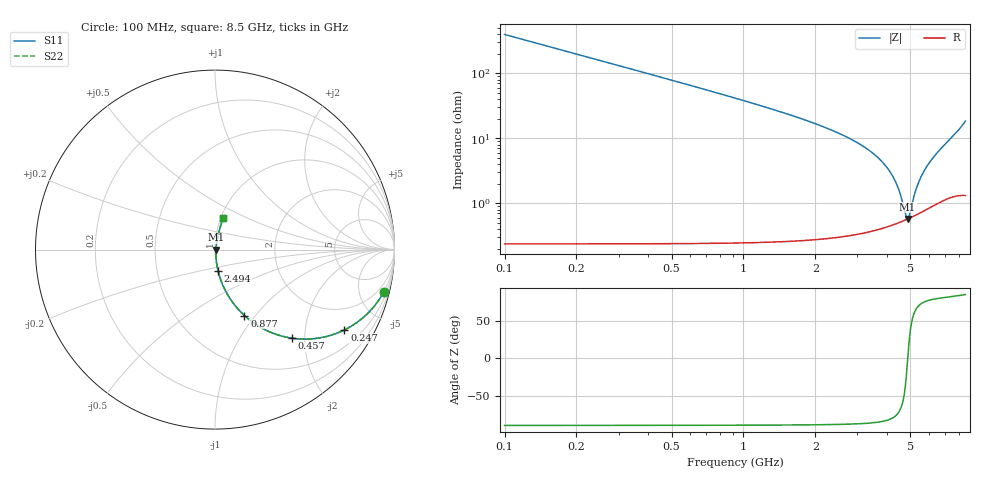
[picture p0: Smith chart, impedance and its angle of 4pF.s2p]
!Murata Part Number: GRM0335C1E4R0CA01
!These Parameters are Measured in Series Mode Connection
!  o--ll--o
!Port1  Port2
!  o------o
!Operation Temp=25[degC], DC Bias Voltage=0[V]
!Freq. Start=100[MHz] Stop=8.5[GHz], 401[Steps]
!Data Generated on Jan 10, 2018
# Hz S RI R 50
!Freq.(Hz) S11(Real) S11(Imag) S21(Real) S21(Imag) S12(Real) S12(Imag) S22(Real) S22(Imag)
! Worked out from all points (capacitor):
!   401 points, 100 MHz to 8.5 GHz, reference 50 ohm
!   read as one part in series: C = 4 pF near 142 MHz
!   lowest |Z| = 574 mohm at 4.867 GHz (marker M1)
!   series resonance near 4.875 GHz, so ESL is about 270 pH
!   S11 on the Smith chart (normalised r, x): 100 MHz: 1.00, -7.95; 247 MHz: 1.00, -3.21; 457 MHz: 1.00, -1.73; 877 MHz: 1.00, -0.88; 2.494 GHz: 1.01, -0.24; 8.5 GHz: 1.03, +0.37
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1e8  0.9404 -0.2364  0.0596 0.2364  0.0596 0.2364  0.9404 -0.2364
1.84e8  0.8232 -0.381  0.1768 0.381  0.1768 0.381  0.8232 -0.381
2.47e8  0.7206 -0.448  0.2794 0.448  0.2794 0.448  0.7206 -0.448
3.31e8  0.5888 -0.4911  0.4112 0.4911  0.4112 0.4911  0.5888 -0.4911
4.57e8  0.4275 -0.4933  0.5725 0.4933  0.5725 0.4933  0.4275 -0.4933
6.46e8  0.2695 -0.4417  0.7305 0.4417  0.7305 0.4417  0.2695 -0.4417
8.77e8  0.1639 -0.3674  0.8361 0.3674  0.8361 0.3674  0.1639 -0.3674
1.507e9  0.0571 -0.2268  0.9429 0.2268  0.9429 0.2268  0.0571 -0.2268
2.494e9  0.0173 -0.1186  0.9827 0.1186  0.9827 0.1186  0.0173 -0.1186
2.914e9  0.0114 -0.0898  0.9886 0.0898  0.9886 0.0898  0.0114 -0.0898
3.754e9  0.00612 -0.0456  0.9939 0.0456  0.9939 0.0456  0.00612 -0.0456
4.3e9  0.00523 -0.0222  0.9948 0.0222  0.9948 0.0222  0.00523 -0.0222
4.531e9  0.00527 -0.013  0.9947 0.013  0.9947 0.013  0.00527 -0.013
4.804e9  0.00559 -0.00264  0.9944 0.00264  0.9944 0.00264  0.00559 -0.00264
4.867e9  0.0057 -0.000292  0.9943 0.000292  0.9943 0.000292  0.0057 -0.000292
4.951e9  0.00588 0.00282  0.9941 -0.00282  0.9941 -0.00282  0.00588 0.00282
5.14e9  0.00636 0.00973  0.9936 -0.00973  0.9936 -0.00973  0.00636 0.00973
5.308e9  0.00689 0.0158  0.9931 -0.0158  0.9931 -0.0158  0.00689 0.0158
5.707e9  0.00853 0.03  0.9915 -0.03  0.9915 -0.03  0.00853 0.03
6.274e9  0.0118 0.0504  0.9882 -0.0504  0.9882 -0.0504  0.0118 0.0504
7.114e9  0.0186 0.0835  0.9814 -0.0835  0.9814 -0.0835  0.0186 0.0835
8.5e9  0.0447 0.1739  0.9553 -0.1739  0.9553 -0.1739  0.0447 0.1739
